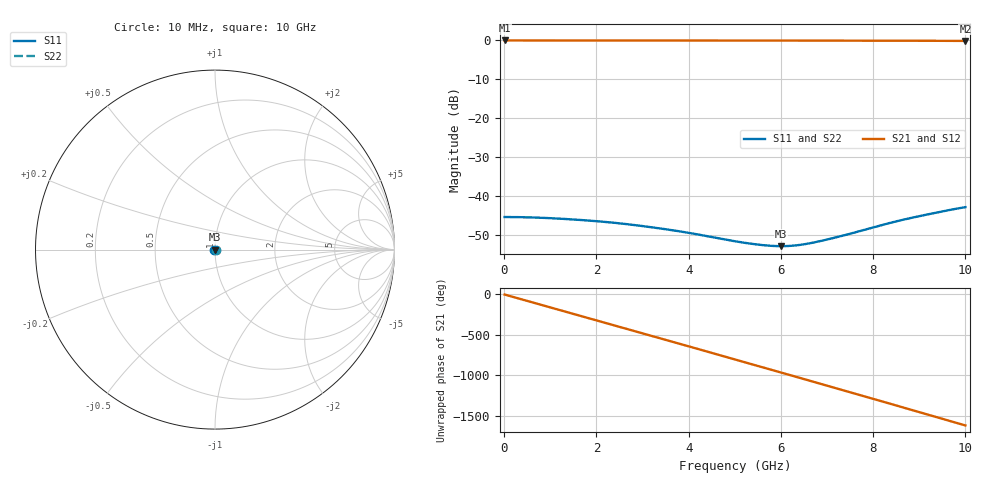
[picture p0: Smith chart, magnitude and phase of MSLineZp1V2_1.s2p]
! TOUCHSTONE file generated by CST MICROWAVE STUDIO
! Date and time: Thu Feb 20 01:01:01 2025
! Project name: MSLineZp1.cst
! Parameters = {Zp1=50; Zp2=50; C=0; L=100; Lamb=0.05; Li=0; R=1e-13; W=20; dlump=2; er=2; h=0.8; w1=2.62}
! Header version: 2024
! Port assignment regex: !\s*Touchstone port\s*([0-9]+)\s*=\s*(CST MWS port|CST DES external port|CST DES block port)\s*(.+)\s* \(\"(.*)\"\)(\s*mode\s*([0-9]+))?.*
! Touchstone port assignment:
! Touchstone port 1 = CST MWS port 1 ("")
! Touchstone port 2 = CST MWS port 2 ("")
# GHz S MA R 50
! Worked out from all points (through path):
!   1000 points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, 10 MHz to 10 GHz, reference 50 ohm
!   highest |S21| = 0.00 dB at 10 MHz (marker M1); lowest = -0.1 dB at 10 GHz (marker M2)
!   group delay of S21, straight-line fit = 449 ps
!   lowest |S11| = -52.8 dB at 6.01 GHz (marker M3), VSWR 1.00, Z = 49.8 - j0.0447 ohm
!   |S11| at or under -10 dB: start of sweep to end of sweep
!   |S22| runs from -52.8 to -42.8 dB; largest |S21 - S12| = 1.7e-06
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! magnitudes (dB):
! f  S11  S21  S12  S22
! 10 MHz  -45.3  0.0  0.0  -45.3
! 790 MHz  -45.5  0.0  0.0  -45.5
! 1.68 GHz  -46.1  0.0  0.0  -46.1
! 2.49 GHz  -46.9  0.0  0.0  -46.9
! 3.34 GHz  -48.2  0.0  0.0  -48.2
! 4.01 GHz  -49.4  0.0  0.0  -49.4
! 5.01 GHz  -51.5  0.0  0.0  -51.5
! 5.31 GHz  -52.1  0.0  0.0  -52.1
! 5.58 GHz  -52.5  0.0  0.0  -52.5
! 5.81 GHz  -52.7  0.0  0.0  -52.7
! 6.01 GHz  -52.8  0.0  0.0  -52.8
! 6.17 GHz  -52.7  0.0  0.0  -52.7
! 6.33 GHz  -52.6  0.0  0.0  -52.6
! 6.49 GHz  -52.3  0.0  0.0  -52.3
! 6.67 GHz  -52.0  0.0  0.0  -52.0
! 6.95 GHz  -51.2  0.0  0.0  -51.2
! 7.32 GHz  -50.2  0.0  0.0  -50.2
! 8.34 GHz  -46.9  -0.1  -0.1  -46.9
! 8.7 GHz  -45.9  -0.1  -0.1  -45.9
! 9.14 GHz  -44.7  -0.1  -0.1  -44.7
! 9.69 GHz  -43.4  -0.1  -0.1  -43.4
! 10 GHz  -42.8  -0.1  -0.1  -42.8
